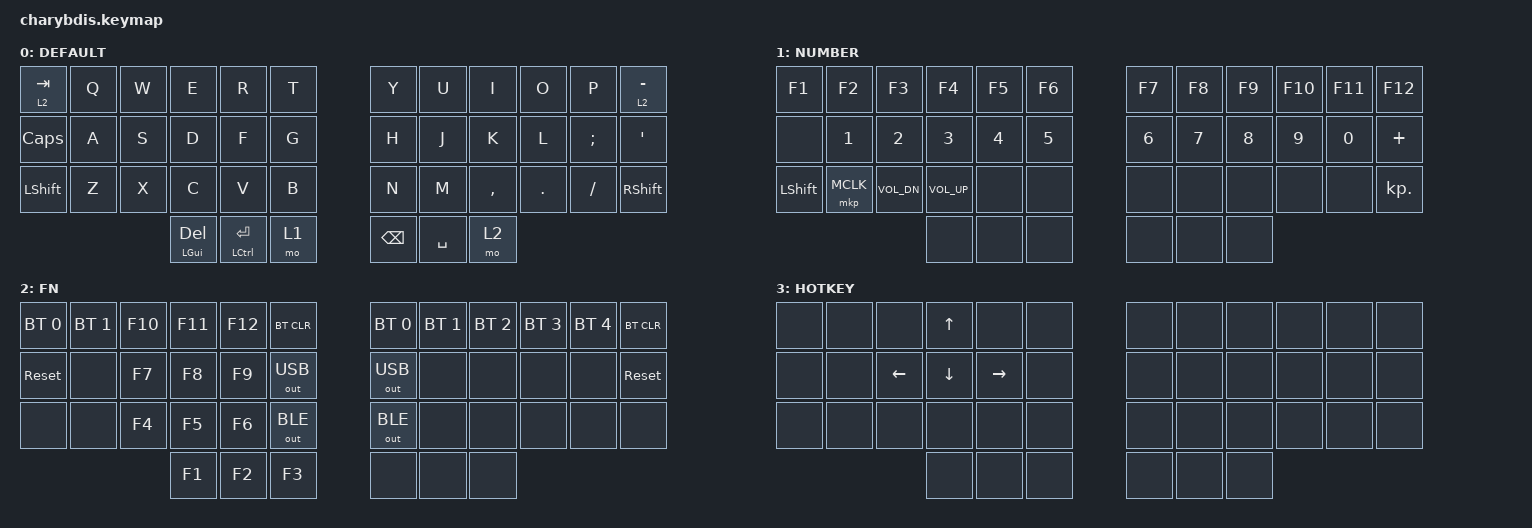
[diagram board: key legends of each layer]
#include <behaviors.dtsi>
#include <dt-bindings/zmk/mouse.h>
#include <dt-bindings/zmk/bt.h>
#include <dt-bindings/zmk/keys.h>
#include <dt-bindings/zmk/outputs.h>

#define DEFAULT 0
#define NUMBER  1
#define FN  2
#define HOTKEY  3



/ {


    combos {
        compatible = "zmk,combos";



    };

    keymap {
        compatible = "zmk,keymap";

        default_layer {
            label = "DEFAULT";
            bindings = <
            &lt 2 TAB     &kp Q  &kp W       &kp E         &kp R      &kp T              &kp Y          &kp U      &kp I      &kp O      &kp P     &lt 2 MINUS
            &kp CAPSLOCK  &kp A  &kp S       &kp D         &kp F      &kp G              &kp H          &kp J      &kp K      &kp L      &kp SEMI  &kp SQT
            &kp LSHFT     &kp Z  &kp X       &kp C         &kp V      &kp B              &kp N          &kp M      &kp COMMA  &kp DOT    &kp FSLH  &kp RSHFT
                                         &mt LGUI  DEL  &mt LCTRL RETURN  &mo 1              &kp BACKSPACE  &kp SPACE  &mo 2

            >;
        };

        number_layer {
            label = "NUMBER";

            bindings = <
            &kp F1        &kp F2         &kp F3        &kp F4         &kp F5      &kp F6      &kp F7  &kp F8   &kp F9   &kp F10   &kp F11   &kp F12
            &none         &kp N1         &kp N2        &kp N3         &kp N4      &kp N5      &kp N6  &kp N7   &kp N8   &kp N9    &kp N0    &kp PLUS
            &kp LSHFT     &mkp MCLK      &kp C_VOL_DN  &kp C_VOL_UP   &none       &none       &none   &none    &none    &none     &none     &kp KP_DOT
                                         &none         &none          &none       &none       &none   &none

            >;
        };

        fn_layer {
            label = "FN";
            bindings = <
            &bt BT_SEL 0  &bt BT_SEL 1  &kp F10  &kp F11  &kp F12  &bt BT_CLR       &bt BT_SEL 0  &bt BT_SEL 1  &bt BT_SEL 2  &bt BT_SEL 3  &bt BT_SEL 4  &bt BT_CLR
            &sys_reset    &none         &kp F7   &kp F8   &kp F9   &out OUT_USB     &out OUT_USB  &none         &none         &none         &none         &sys_reset
            &none         &none         &kp F4   &kp F5   &kp F6   &out OUT_BLE     &out OUT_BLE  &none         &none         &none         &none         &none
                                                 &kp F1   &kp F2   &kp F3           &none         &none         &none

            >;
        };

        hotkey_layer {
            label = "HOTKEY";
            bindings = <
            &none  &none    &none     &kp UP    &none        &none         &none  &none     &none     &none      &none  &none
            &none  &none    &kp LEFT  &kp DOWN  &kp RIGHT    &none         &none  &none  &none   &none  &none  &none
            &none  &none    &none     &none     &none        &none         &none  &none     &none      &none      &none  &none
                                      &none     &none        &none         &none  &none     &none

            >;
        };

    };
};
